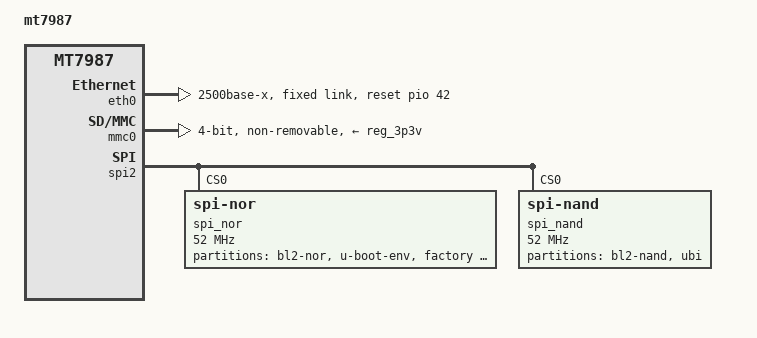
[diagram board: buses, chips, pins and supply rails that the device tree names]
// SPDX-License-Identifier: GPL-2.0

#include "mt7987a-u-boot.dtsi"
#include "mt7987-netsys-u-boot.dtsi"

/ {
	model = "mt7987";
	compatible = "bananapi,bpi-r4-lite-emmc", "mediatek,mt7987";
};

&eth0 {
	status = "okay";
	pinctrl-names = "default";
	pinctrl-0 = <&mdio0_pins>;
	phy-mode = "2500base-x";
	mediatek,switch = "auto";
	reset-gpios = <&pio 42 GPIO_ACTIVE_HIGH>;

	fixed-link {
		speed = <2500>;
		full-duplex;
		pause;
	};
};

&mmc0 {
	pinctrl-names = "default";
	pinctrl-0 = <&mmc_pins_default>;
	max-frequency = <48000000>;
	bus-width = <4>;
	cap-mmc-highspeed;
	cap-mmc-hw-reset;
	vmmc-supply = <&reg_3p3v>;
	vqmmc-supply = <&reg_3p3v>;
	non-removable;
	status = "okay";
};

&spi2 {
	pinctrl-names = "default";
	pinctrl-0 = <&spi2_flash_pins>;
	#address-cells = <1>;
	#size-cells = <0>;
	status = "okay";
	must_tx;
	enhance_timing;
	dma_ext;
	ipm_design;
	support_quad;
	tick_dly = <2>;
	sample_sel = <0>;

	/delete-node/ spi_nor@0;
	spi_nor@0 {
		compatible = "jedec,spi-nor";
		reg = <0>;
		spi-max-frequency = <52000000>;
		spi-rx-bus-width = <4>;
		spi-tx-bus-width = <4>;

		partitions {
			compatible = "fixed-partitions";
			#address-cells = <1>;
			#size-cells = <1>;

			partition@0 {
				label = "bl2-nor";
				reg = <0x0 0x40000>;
			};

			partition@40000 {
				label = "u-boot-env";
				reg = <0x40000 0x40000>;
			};

			partition@50000 {
				label = "factory";
				reg = <0x80000 0x80000>;
				read-only;
			};

			partition@100000 {
				label = "fip";
				reg = <0x100000 0x80000>;
			};

			partition@180000 {
				label = "recovery";
				reg = <0x180000 0xe80000>;
			};

			partition@1000000 {
				label = "fit";
				reg = <0x1000000 0x1000000>;
			};
		};
	};

	spi_nand@0 {
		compatible = "spi-nand";
		reg = <0>;
		spi-max-frequency = <52000000>;
		spi-rx-bus-width = <4>;
		spi-tx-bus-width = <4>;

		partitions {
			compatible = "fixed-partitions";
			#address-cells = <1>;
			#size-cells = <1>;

			partition@0 {
				label = "bl2-nand";
				reg = <0x0 0x200000>;
			};

			partition@200000 {
				label = "ubi";
				reg = <0x200000 0xfe00000>;
				compatible = "linux,ubi";
			};
		};
	};
};
